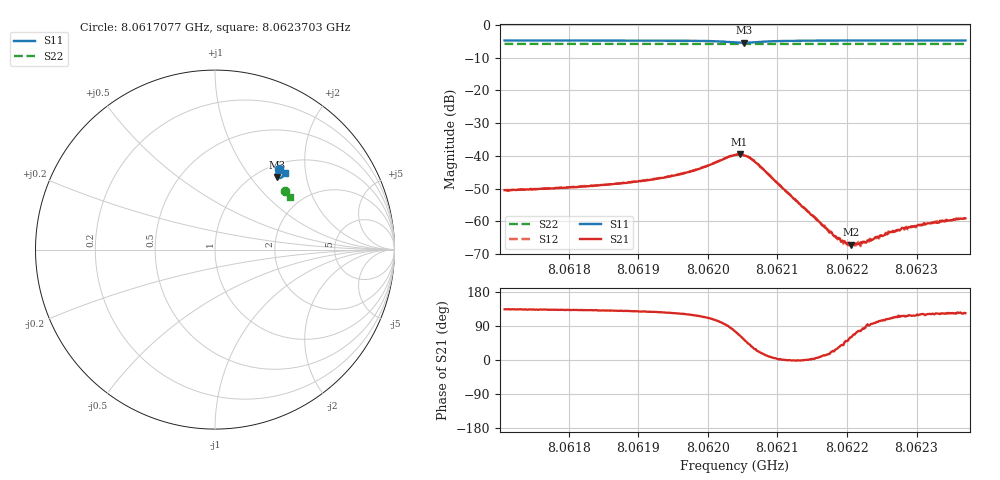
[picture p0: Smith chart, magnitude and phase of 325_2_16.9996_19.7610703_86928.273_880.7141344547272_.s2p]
#  HZ  S  RI  R  50.00
! Rohde & Schwarz Vector Network Analyzer
! Rohde-Schwarz,ZNB20-2Port,1311601062101988,3.16
! Created: UTC 3/20/2024, 11:06:40 PM
! freq[Hz]  re:S11  im:S11  re:S21  im:S21  re:S12  im:S12  re:S22  im:S22
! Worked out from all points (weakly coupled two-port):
!   401 points, 8.0617077 GHz to 8.0623703 GHz, reference 50 ohm
!   highest |S21| = -39.45 dB at 8.0620456 GHz (marker M1); lowest = -67.1 dB at 8.0622063 GHz (marker M2)
!   lowest |S11| = -5.5 dB at 8.0620522 GHz (marker M3), VSWR 3.27, Z = 60.6 + j68.3 ohm
!   |S11| at or under -10 dB: nowhere
!   |S22| runs from -5.9 to -5.8 dB; largest |S21 - S12| = 0.00074
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8.06170765e9  0.3589 0.4504  -0.00208 0.00217  -0.00197 0.00226  0.3917 0.3278
8.06181864e9  0.3666 0.4439  -0.00227 0.00252  -0.00215 0.0027  0.396 0.3223
8.06187828e9  0.371 0.4395  -0.00244 0.00296  -0.00232 0.00315  0.3982 0.3193
8.06192963e9  0.3753 0.4343  -0.00268 0.00366  -0.00247 0.00388  0.4002 0.3165
8.06198098e9  0.3796 0.4247  -0.00281 0.0053  -0.0025 0.00555  0.4021 0.3137
8.06203896e9  0.3615 0.3984  0.00255 0.00999  0.00322 0.01  0.4029 0.3101
8.06204559e9  0.3532 0.3995  0.00445 0.00967  0.00504 0.00933  0.4027 0.3099
8.06205222e9  0.3455 0.4039  0.00604 0.0082  0.0067 0.00791  0.4028 0.3099
8.0620605e9  0.3399 0.4134  0.00711 0.00598  0.00762 0.00554  0.4029 0.31
8.06206878e9  0.3395 0.4229  0.00694 0.00376  0.00742 0.00324  0.4033 0.31
8.06214995e9  0.3681 0.4384  0.00124 6.94e-05  0.00126 6.99e-06  0.4076 0.3067
8.06218308e9  0.3731 0.4362  0.000534 0.000273  0.000543 0.000248  0.409 0.3048
8.06219799e9  0.3749 0.4354  0.000308 0.000368  0.00033 0.000329  0.4096 0.3041
8.06220296e9  0.3754 0.4351  0.000255 0.000379  0.000274 0.000387  0.4096 0.3039
8.06220628e9  0.3757 0.4348  0.000218 0.000384  0.000236 0.000386  0.4097 0.3037
8.06221621e9  0.3769 0.4343  0.000108 0.000449  0.000155 0.000464  0.4102 0.3032
8.06222118e9  0.3774 0.434  8.26e-05 0.000466  0.000141 0.000458  0.4104 0.303
8.06226094e9  0.3809 0.4315  -0.000228 0.000657  -0.000185 0.000634  0.4119 0.3009
8.06228082e9  0.3825 0.4303  -0.000352 0.000714  -0.000286 0.000757  0.4126 0.2998
8.06231395e9  0.385 0.4286  -0.000459 0.000804  -0.000433 0.0008  0.4138 0.2981
8.06233383e9  0.3863 0.4274  -0.000532 0.000878  -0.000487 0.000901  0.4146 0.2971
8.06237027e9  0.3887 0.4253  -0.000617 0.00093  -0.000607 0.000962  0.4157 0.2953
